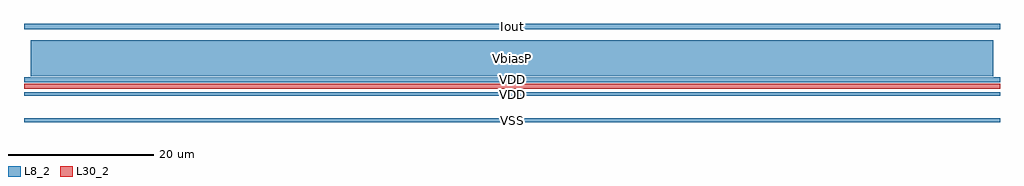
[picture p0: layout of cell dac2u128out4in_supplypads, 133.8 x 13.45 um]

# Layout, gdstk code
import gdstk
lib = gdstk.Library(unit=1e-6, precision=1e-09)
def R(c, l, rs):  # rectangles x0, y0, x1, y1
    for r in rs: c.add(gdstk.rectangle(r[:2], r[2:], *l))
L8_2 = (8, 2)
L30_2 = (30, 2)

dac2u128out4in_supplypad = lib.new_cell('dac2u128out4in_supplypads')
R(dac2u128out4in_supplypad, L8_2, [(-1.9,-4.91,131.9,-4.41), (-1.9,-1.33,131.9,-0.83), (-1.9,0.55,131.9,1.22), (-1,1.4,131,6.33), (-1.9,7.835,131.9,8.535)])
R(dac2u128out4in_supplypad, L30_2, [(-1.9,-0.35,131.9,0.35)])
dac2u128out4in_supplypad.add(gdstk.Label('VDD', (65,0.885), layer=8, texttype=2))
dac2u128out4in_supplypad.add(gdstk.Label('VDD', (65,-1.08), layer=8, texttype=2))
dac2u128out4in_supplypad.add(gdstk.Label('VSS', (65,-4.66), layer=8, texttype=2))
dac2u128out4in_supplypad.add(gdstk.Label('VbiasP', (65,3.865), layer=8, texttype=2))
dac2u128out4in_supplypad.add(gdstk.Label('Iout', (65,8.185), layer=8, texttype=2))
dac2u128out4in_supplypad.add(gdstk.Label('VcascP', (65,0), layer=30, texttype=2))

lib.write_gds('dac2u128out4in_supplypads.gds')
